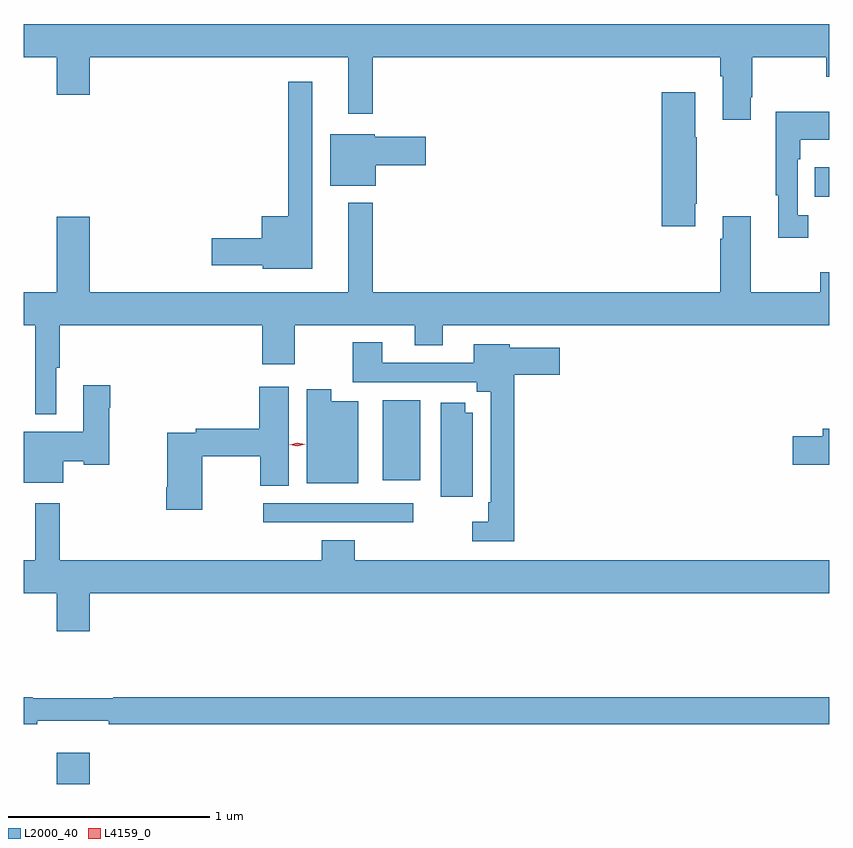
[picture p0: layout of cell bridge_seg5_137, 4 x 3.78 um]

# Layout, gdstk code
import gdstk
lib = gdstk.Library(unit=1e-6, precision=1e-09)
def R(c, l, rs):  # rectangles x0, y0, x1, y1
    for r in rs: c.add(gdstk.rectangle(r[:2], r[2:], *l))
def P(c, l, *ps):  # polygons
    for p in ps: c.add(gdstk.Polygon(p, *l))
L2000_40 = (2000, 40)
L4159_0 = (4159, 0)

bridge_seg5_137 = lib.new_cell('bridge_seg5_137')
R(bridge_seg5_137, L2000_40, [(356.816,845.156,356.98,845.311), (357.843,846.456,358.588,846.552), (358.436,846.665,358.624,847.063), (360.583,848.074,360.654,848.221)])
P(bridge_seg5_137, L2000_40, [(360.265,848.569),(360.273,848.569),(360.273,848.768),(360.64,848.768),(360.64,848.669),(360.654,848.669),(360.654,848.932),(356.654,848.932),(356.654,848.768),(356.816,848.768),(356.816,848.58),(356.98,848.58),(356.98,848.768),(358.265,848.768),(358.265,848.487),(358.387,848.487),(358.387,848.768),(360.113,848.768),(360.113,848.672),(360.125,848.672),(360.125,848.457),(360.265,848.457)],
  [(358.087,848.644),(357.966,848.644),(357.966,847.978),(357.836,847.978),(357.836,847.868),(357.588,847.868),(357.588,847.733),(357.84,847.733),(357.84,847.715),(358.087,847.715)],
  [(359.989,848.038),(359.997,848.038),(359.997,848.369),(359.989,848.369),(359.989,848.593),(359.822,848.593),(359.822,847.926),(359.989,847.926)],
  [(360.55,847.982),(360.498,847.982),(360.498,848.261),(360.511,848.261),(360.511,848.357),(360.654,848.357),(360.654,848.497),(360.39,848.497),(360.39,848.081),(360.401,848.081),(360.401,847.869),(360.55,847.869)],
  [(358.402,848.231),(358.651,848.231),(358.651,848.373),(358.398,848.373),(358.398,848.383),(358.175,848.383),(358.175,848.129),(358.402,848.129)],
  [(356.815,847.225),(356.833,847.225),(356.833,847.436),(357.839,847.436),(357.839,847.242),(357.999,847.242),(357.999,847.436),(358.595,847.436),(358.595,847.337),(358.735,847.337),(358.735,847.436),(360.654,847.436),(360.654,847.699),(360.61,847.699),(360.61,847.6),(360.265,847.6),(360.265,847.978),(360.125,847.978),(360.125,847.865),(360.113,847.865),(360.113,847.6),(358.387,847.6),(358.387,848.044),(358.265,848.044),(358.265,847.6),(356.98,847.6),(356.98,847.975),(356.816,847.975),(356.816,847.6),(356.654,847.6),(356.654,847.436),(356.711,847.436),(356.711,846.992),(356.815,846.992)],
  [(359.09,847.19),(359.317,847.19),(359.317,847.324),(359.067,847.324),(359.067,847.342),(358.889,847.342),(358.889,847.248),(358.435,847.248),(358.435,847.351),(358.288,847.351),(358.288,847.152),(358.904,847.152),(358.904,847.106),(358.974,847.106),(358.974,846.556),(358.962,846.556),(358.962,846.459),(358.881,846.459),(358.881,846.363),(359.09,846.363)],
  [(356.848,846.76),(356.952,846.76),(356.952,846.742),(357.078,846.742),(357.078,847.025),(357.083,847.025),(357.083,847.138),(356.948,847.138),(356.948,846.907),(356.654,846.907),(356.654,846.653),(356.848,846.653)],
  [(357.54,846.784),(357.829,846.784),(357.829,846.637),(357.97,846.637),(357.97,847.129),(357.824,847.129),(357.824,846.92),(357.508,846.92),(357.508,846.9),(357.367,846.9),(357.367,846.631),(357.362,846.631),(357.362,846.519),(357.54,846.519)],
  [(358.315,847.057),(358.18,847.057),(358.18,847.117),(358.058,847.117),(358.058,846.65),(358.315,846.65)],
  [(358.885,847),(358.846,847),(358.846,847.049),(358.724,847.049),(358.724,846.582),(358.885,846.582)],
  [(360.654,846.92),(360.623,846.92),(360.623,846.884),(360.474,846.884),(360.474,846.742),(360.654,846.742)],
  [(356.98,846.104),(360.654,846.104),(360.654,846.268),(358.298,846.268),(358.298,846.367),(358.133,846.367),(358.133,846.268),(356.833,846.268),(356.833,846.55),(356.711,846.55),(356.711,846.268),(356.654,846.268),(356.654,846.104),(356.816,846.104),(356.816,845.916),(356.98,845.916)],
  [(356.72,845.471),(357.076,845.471),(357.076,845.452),(360.654,845.452),(360.654,845.588),(357.098,845.588),(357.098,845.581),(356.698,845.581),(356.698,845.588),(356.654,845.588),(356.654,845.452),(356.72,845.452)])
P(bridge_seg5_137, L4159_0, [(358.013,846.833),(357.975,846.842),(357.975,846.842),(357.975,846.842),(358.013,846.852),(358.051,846.843),(358.051,846.843),(358.051,846.843)])

lib.write_gds('bridge_seg5_137.gds')
